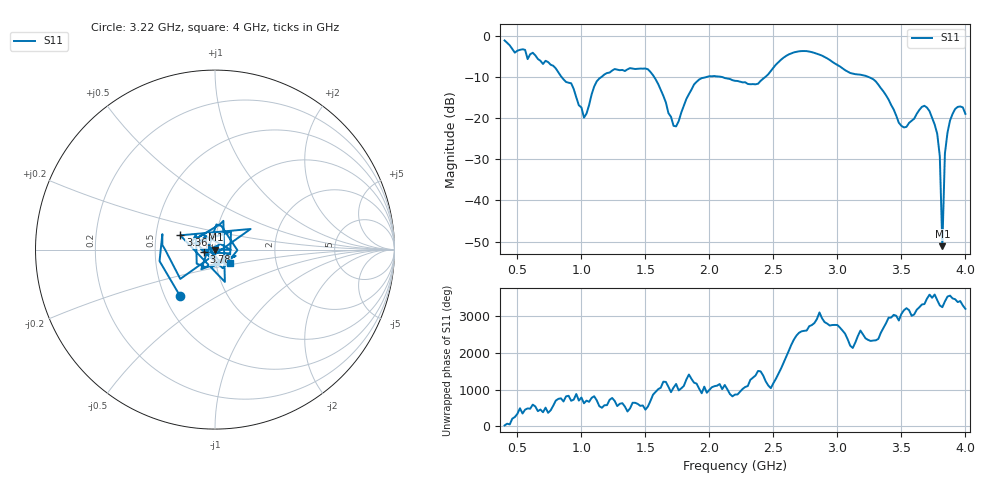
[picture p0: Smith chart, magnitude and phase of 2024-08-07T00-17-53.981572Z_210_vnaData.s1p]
!Created with skrf (http://scikit-rf.org).
# Hz S RI R 50.0
!freq ReS11 ImS11
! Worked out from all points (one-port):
!   181 points, 400 MHz to 4 GHz, reference 50 ohm
!   lowest |S11| = -51.1 dB at 3.82 GHz (marker M1), VSWR 1.01, Z = 50.3 + j0.0061 ohm
!   |S11| at or under -10 dB: 1.567 GHz to 1.986 GHz (419.1 MHz wide, 23.6 % of centre); 2.087 GHz to 2.439 GHz (352.5 MHz wide, 15.6 % of centre); 3.238 GHz to end of sweep (the widest 3 of 4)
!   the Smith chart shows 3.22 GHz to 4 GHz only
!   S11 on the Smith chart (normalised r, x): 3.22 GHz: 0.60, -0.35; 3.36 GHz: 0.67, +0.11; 3.78 GHz: 0.88, -0.03; 4 GHz: 1.16, -0.18
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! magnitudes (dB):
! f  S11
! 400 MHz  -1.2
! 860 MHz  -10.6
! 920 MHz  -11.6
! 1.02 GHz  -19.9
! 1.12 GHz  -11.1
! 1.3 GHz  -8.4
! 1.52 GHz  -8.2
! 1.6 GHz  -11.8
! 1.72 GHz  -21.9
! 1.76 GHz  -20.8
! 1.92 GHz  -10.7
! 2.2 GHz  -11.0
! 2.38 GHz  -11.7
! 2.66 GHz  -4.1
! 2.86 GHz  -4.6
! 3.1 GHz  -9.1
! 3.22 GHz  -9.8
! 3.36 GHz  -13.6
! 3.48 GHz  -21.2
! 3.56 GHz  -21.2
! 3.68 GHz  -17.1
! 3.78 GHz  -23.9
! 3.8 GHz  -29.3
! 3.82 GHz  -51.1
! 3.84 GHz  -28.6
! 3.86 GHz  -23.6
! 3.92 GHz  -17.8
! 4 GHz  -19.0
